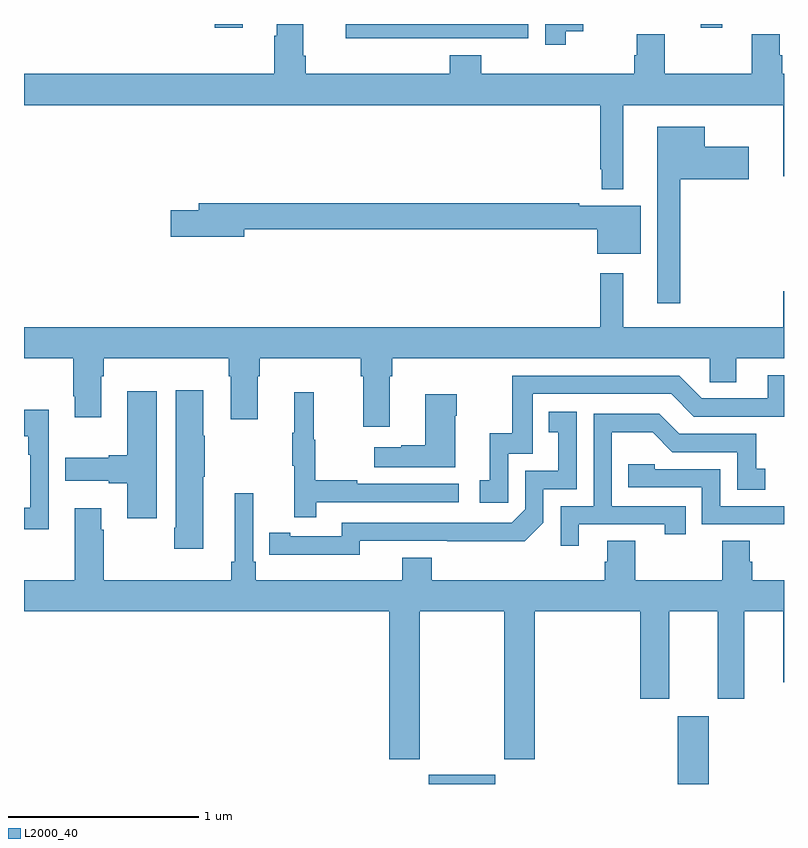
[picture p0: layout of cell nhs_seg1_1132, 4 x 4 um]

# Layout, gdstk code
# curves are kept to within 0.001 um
import gdstk
lib = gdstk.Library(unit=1e-6, precision=1e-09)
def R(c, l, rs):  # rectangles x0, y0, x1, y1
    for r in rs: c.add(gdstk.rectangle(r[:2], r[2:], *l))
def P(c, l, *ps):  # polygons
    for p in ps: c.add(gdstk.Polygon(p, *l))
L2000_40 = (2000, 40)

nhs_seg1_1132 = lib.new_cell('nhs_seg1_1132')
R(nhs_seg1_1132, L2000_40, [(175.13,508.199,175.48,508.249), (176.441,508.199,176.605,508.555), (174.003,512.178,174.151,512.199), (176.563,512.178,176.674,512.199)])
P(nhs_seg1_1132, L2000_40, [(175.157,512.124),(175.653,512.124),(175.653,512.199),(174.694,512.199),(174.694,512.123),(175.157,512.123)],
  [(175.852,512.161),(175.944,512.161),(175.944,512.199),(175.743,512.199),(175.743,512.091),(175.852,512.091)],
  [(176.155,511.772),(176.996,511.772),(176.996,511.398),(177,511.398),(177,511.936),(176.99,511.936),(176.99,512.034),(176.977,512.034),(176.977,512.144),(176.83,512.144),(176.83,511.936),(176.373,511.936),(176.373,512.144),(176.225,512.144),(176.225,512.034),(176.213,512.034),(176.213,511.936),(175.406,511.936),(175.406,512.035),(175.241,512.035),(175.241,511.936),(174.482,511.936),(174.482,512.032),(174.469,512.032),(174.469,512.199),(174.329,512.199),(174.329,512.138),(174.317,512.138),(174.317,511.936),(173,511.936),(173,511.772),(176.034,511.772),(176.034,511.435),(176.04,511.435),(176.04,511.328),(176.155,511.328)],
  [(176.455,511.382),(176.815,511.382),(176.815,511.552),(176.584,511.552),(176.584,511.657),(176.333,511.657),(176.333,510.729),(176.455,510.729)],
  [(176.245,511.243),(175.922,511.243),(175.922,511.256),(173.921,511.256),(173.921,511.22),(173.772,511.22),(173.772,511.078),(174.16,511.078),(174.16,511.12),(176.018,511.12),(176.018,510.989),(176.245,510.989)],
  [(174.925,510.344),(174.938,510.344),(174.938,510.44),(176.61,510.44),(176.61,510.313),(176.749,510.313),(176.749,510.44),(177,510.44),(177,510.793),(176.996,510.793),(176.996,510.604),(176.155,510.604),(176.155,510.886),(176.034,510.886),(176.034,510.604),(173,510.604),(173,510.44),(173.26,510.44),(173.26,510.241),(173.267,510.241),(173.267,510.129),(173.407,510.129),(173.407,510.344),(173.42,510.344),(173.42,510.44),(174.077,510.44),(174.077,510.344),(174.089,510.344),(174.089,510.12),(174.229,510.12),(174.229,510.344),(174.242,510.344),(174.242,510.44),(174.773,510.44),(174.773,510.344),(174.785,510.344),(174.785,510.078),(174.925,510.078)],
  [(175.548,509.937),(175.677,509.937),(175.677,510.252),(176.406,510.252),(176.526,510.132),(177,510.132),(177,510.351),(176.915,510.351),(176.915,510.228),(176.568,510.228),(176.448,510.348),(175.569,510.348),(175.569,510.046),(175.451,510.046),(175.451,509.799),(175.398,509.799),(175.398,509.679),(175.548,509.679)],
  [(173.944,509.815),(173.952,509.815),(173.952,510.032),(173.944,510.032),(173.944,510.271),(173.798,510.271),(173.798,509.548),(173.791,509.548),(173.791,509.436),(173.944,509.436)],
  [(173.698,510.265),(173.543,510.265),(173.543,509.93),(173.447,509.93),(173.447,509.917),(173.217,509.917),(173.217,509.795),(173.447,509.795),(173.447,509.783),(173.543,509.783),(173.543,509.598),(173.698,509.598)],
  [(174.539,509.682),(175.288,509.682),(175.288,509.778),(174.755,509.778),(174.755,509.798),(174.532,509.798),(174.532,510.012),(174.524,510.012),(174.524,510.262),(174.422,510.262),(174.422,510.049),(174.411,510.049),(174.411,509.875),(174.422,509.875),(174.422,509.604),(174.539,509.604)],
  [(175.27,510.137),(175.278,510.137),(175.278,510.25),(175.112,510.25),(175.112,509.981),(174.986,509.981),(174.986,509.971),(174.843,509.971),(174.843,509.867),(175.27,509.867)],
  [(173.13,510.169),(173,510.169),(173,510.029),(173.022,510.029),(173.022,509.933),(173.034,509.933),(173.034,509.654),(173,509.654),(173,509.541),(173.13,509.541)],
  [(174.768,509.478),(175.636,509.477),(175.734,509.574),(175.734,509.751),(175.908,509.751),(175.908,510.157),(175.762,510.157),(175.762,510.051),(175.811,510.051),(175.811,509.847),(175.638,509.847),(175.638,509.646),(175.566,509.574),(174.672,509.574),(174.672,509.502),(174.4,509.502),(174.4,509.522),(174.292,509.522),(174.292,509.406),(174.768,509.405)],
  [(175.921,509.565),(176.372,509.565),(176.372,509.514),(176.483,509.514),(176.483,509.661),(176.094,509.661),(176.094,510.05),(176.308,510.05),(176.412,509.946),(176.754,509.946),(176.754,509.748),(176.902,509.748),(176.902,509.857),(176.853,509.857),(176.853,510.042),(176.449,510.042),(176.344,510.147),(175.998,510.147),(175.998,509.661),(175.824,509.661),(175.824,509.454),(175.921,509.454)],
  [(177,509.661),(176.664,509.661),(176.664,509.856),(176.319,509.856),(176.319,509.883),(176.179,509.883),(176.179,509.76),(176.568,509.76),(176.568,509.565),(177,509.565)],
  [(175.528,508.329),(175.688,508.329),(175.688,509.108),(176.243,509.108),(176.243,508.647),(176.395,508.647),(176.395,509.108),(176.651,509.108),(176.651,508.647),(176.791,508.647),(176.791,509.108),(176.996,509.108),(176.996,508.734),(177,508.734),(177,509.272),(176.834,509.272),(176.834,509.37),(176.821,509.37),(176.821,509.48),(176.674,509.48),(176.674,509.272),(176.217,509.272),(176.217,509.48),(176.069,509.48),(176.069,509.37),(176.057,509.37),(176.057,509.272),(175.145,509.272),(175.145,509.389),(174.992,509.389),(174.992,509.272),(174.221,509.272),(174.221,509.368),(174.207,509.368),(174.207,509.728),(174.11,509.728),(174.11,509.368),(174.091,509.368),(174.091,509.272),(173.42,509.272),(173.42,509.537),(173.407,509.537),(173.407,509.65),(173.267,509.65),(173.267,509.272),(173,509.272),(173,509.108),(174.923,509.108),(174.923,508.329),(175.083,508.329),(175.083,509.108),(175.528,509.108)])

lib.write_gds('nhs_seg1_1132.gds')
